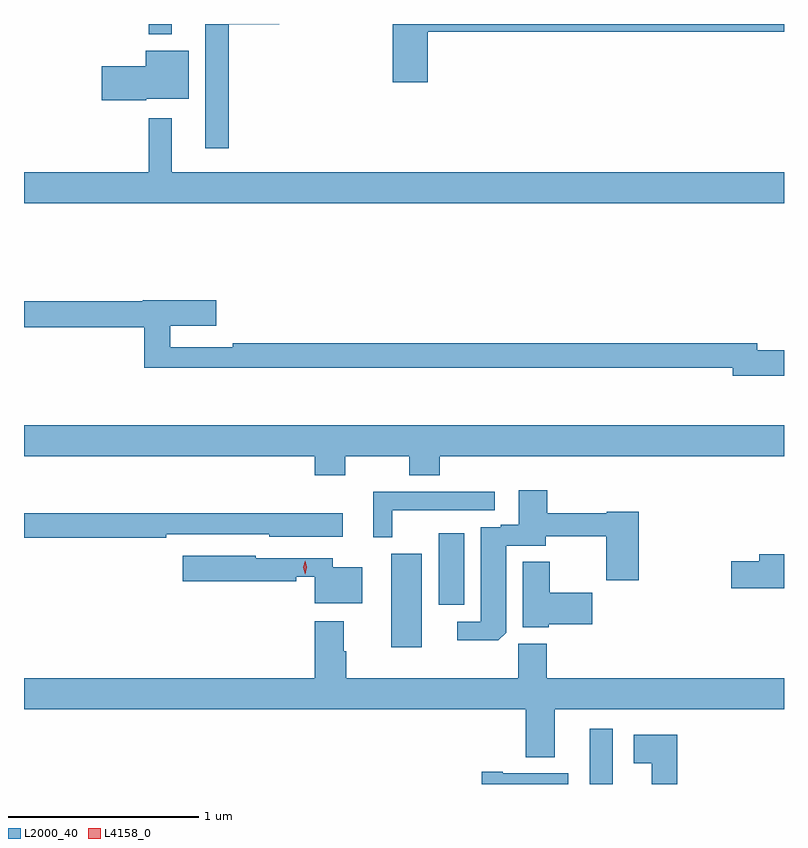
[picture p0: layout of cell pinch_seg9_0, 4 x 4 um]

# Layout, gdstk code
import gdstk
lib = gdstk.Library(unit=1e-6, precision=1e-09)
def R(c, l, rs):  # rectangles x0, y0, x1, y1
    for r in rs: c.add(gdstk.rectangle(r[:2], r[2:], *l))
def P(c, l, *ps):  # polygons
    for p in ps: c.add(gdstk.Polygon(p, *l))
L2000_40 = (2000, 40)
L4158_0 = (4158, 0)

pinch_seg9_0 = lib.new_cell('pinch_seg9_0')
R(pinch_seg9_0, L2000_40, [(978.443,1205.351,978.565,1205.641), (977.399,1206.072,977.56,1206.562), (977.648,1206.294,977.782,1206.67), (976.122,1209.296,976.243,1209.351)])
P(pinch_seg9_0, L2000_40, [(977.591,1209.31),(979.466,1209.31),(979.466,1209.351),(977.408,1209.351),(977.408,1209.045),(977.591,1209.045)],
  [(976.543,1209.35),(976.81,1209.35),(976.81,1209.351),(976.421,1209.351),(976.421,1208.697),(976.543,1208.697)],
  [(976.11,1208.957),(976.333,1208.957),(976.333,1209.211),(976.106,1209.211),(976.106,1209.128),(975.876,1209.128),(975.876,1208.95),(976.11,1208.95)],
  [(979.466,1208.572),(976.243,1208.572),(976.243,1208.854),(976.122,1208.854),(976.122,1208.572),(975.466,1208.572),(975.466,1208.408),(979.466,1208.408)],
  [(979.466,1207.634),(979.324,1207.634),(979.324,1207.67),(976.564,1207.67),(976.564,1207.65),(976.235,1207.65),(976.235,1207.763),(976.477,1207.763),(976.477,1207.898),(976.092,1207.898),(976.092,1207.892),(975.466,1207.892),(975.466,1207.756),(976.099,1207.756),(976.099,1207.542),(979.196,1207.542),(979.196,1207.499),(979.466,1207.499)],
  [(977.157,1207.076),(977.494,1207.076),(977.494,1206.977),(977.654,1206.977),(977.654,1207.076),(979.466,1207.076),(979.466,1207.24),(975.466,1207.24),(975.466,1207.076),(976.997,1207.076),(976.997,1206.977),(977.157,1206.977)],
  [(978.004,1206.148),(978.004,1206.606),(978.211,1206.606),(978.211,1206.654),(978.53,1206.654),(978.53,1206.423),(978.701,1206.423),(978.701,1206.783),(978.534,1206.783),(978.534,1206.775),(978.219,1206.775),(978.219,1206.898),(978.071,1206.898),(978.071,1206.715),(977.975,1206.715),(977.975,1206.702),(977.87,1206.702),(977.87,1206.204),(977.745,1206.204),(977.745,1206.107),(977.962,1206.107)],
  [(977.403,1206.792),(977.944,1206.792),(977.944,1206.888),(977.303,1206.888),(977.303,1206.651),(977.403,1206.651)],
  [(976.214,1206.666),(976.758,1206.666),(976.758,1206.653),(977.143,1206.653),(977.143,1206.775),(975.466,1206.775),(975.466,1206.646),(976.214,1206.646)],
  [(979.466,1206.56),(979.337,1206.56),(979.337,1206.524),(979.188,1206.524),(979.188,1206.382),(979.466,1206.382)],
  [(977.245,1206.493),(977.091,1206.493),(977.091,1206.54),(976.686,1206.54),(976.686,1206.553),(976.302,1206.553),(976.302,1206.419),(976.898,1206.419),(976.898,1206.442),(976.995,1206.442),(976.995,1206.302),(977.245,1206.302)],
  [(978.228,1206.191),(978.457,1206.191),(978.457,1206.357),(978.232,1206.357),(978.232,1206.521),(978.092,1206.521),(978.092,1206.176),(978.228,1206.176)],
  [(978.259,1205.744),(979.466,1205.744),(979.466,1205.908),(978.218,1205.908),(978.218,1206.09),(978.067,1206.09),(978.067,1205.908),(977.162,1205.908),(977.162,1206.05),(977.149,1206.05),(977.149,1206.208),(976.997,1206.208),(976.997,1205.908),(975.466,1205.908),(975.466,1205.744),(978.107,1205.744),(978.107,1205.492),(978.259,1205.492)],
  [(978.905,1205.611),(978.675,1205.611),(978.675,1205.459),(978.77,1205.459),(978.77,1205.351),(978.905,1205.351)],
  [(978.331,1205.407),(977.986,1205.407),(977.986,1205.415),(977.874,1205.415),(977.874,1205.351),(978.331,1205.351)])
P(pinch_seg9_0, L4158_0, [(976.945,1206.456),(976.945,1206.456),(976.935,1206.492),(976.946,1206.526),(976.946,1206.526),(976.946,1206.526),(976.955,1206.491),(976.945,1206.456)])

lib.write_gds('pinch_seg9_0.gds')
